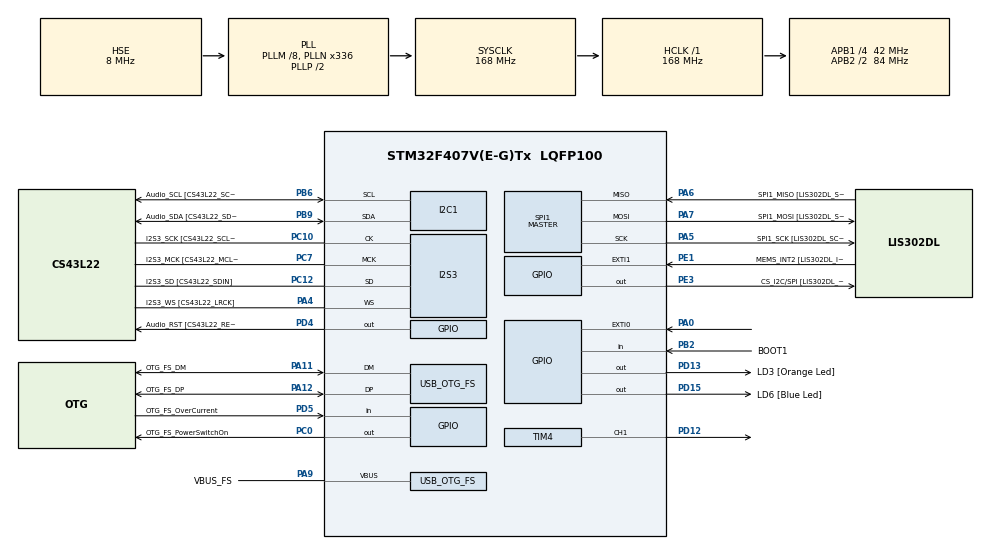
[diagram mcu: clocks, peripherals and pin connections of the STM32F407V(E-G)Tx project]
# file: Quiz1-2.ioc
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I2S3.AudioFreq-Half_Duplex_Master=I2S_AUDIOFREQ_96K
I2S3.ErrorAudioFreq=-2.34 %
I2S3.ErrorAudioFreq-Half_Duplex_Master=0.8 %
I2S3.FullDuplexMode=I2S_FULLDUPLEXMODE_DISABLE
I2S3.Instance=SPI$Index
I2S3.RealAudioFreq=93.75 KHz
I2S3.RealAudioFreq-Half_Duplex_Master=96.774 KHz
I2S3.VirtualMode=I2S_MODE_MASTER
Mcu.Family=STM32F4
Mcu.Name=STM32F407V(E-G)Tx
Mcu.Package=LQFP100
NVIC.EXTI0_IRQn=true\:7\:0\:true\:false\:true\:true\:true
NVIC.OTG_FS_IRQn=true\:0\:0\:false\:false\:true\:true\:true
NVIC.PriorityGroup=NVIC_PRIORITYGROUP_3
PA0-WKUP.Signal=GPXTI0
PA10.GPIO_Label=OTG_FS_ID
PA10.GPIO_Mode=GPIO_MODE_AF_PP
PA10.GPIO_PuPd=GPIO_NOPULL
PA10.GPIO_Speed=GPIO_SPEED_FREQ_LOW
PA10.Signal=USB_OTG_FS_ID
PA11.GPIO_Label=OTG_FS_DM
PA11.GPIO_Mode=GPIO_MODE_AF_PP
PA11.GPIO_PuPd=GPIO_NOPULL
PA11.GPIO_Speed=GPIO_SPEED_FREQ_LOW
PA11.Mode=Host_Only
PA11.Signal=USB_OTG_FS_DM
PA12.GPIO_Label=OTG_FS_DP
PA12.GPIO_Mode=GPIO_MODE_AF_PP
PA12.GPIO_PuPd=GPIO_NOPULL
PA12.GPIO_Speed=GPIO_SPEED_FREQ_LOW
PA12.Mode=Host_Only
PA12.Signal=USB_OTG_FS_DP
PA13.GPIO_Label=SWDIO
PA13.Mode=Serial_Wire
PA13.Signal=SYS_JTMS-SWDIO
PA14.GPIO_Label=SWCLK
PA14.Mode=Serial_Wire
PA14.Signal=SYS_JTCK-SWCLK
PA4.GPIO_Label=I2S3_WS [CS43L22_LRCK]
PA4.GPIO_Mode=GPIO_MODE_AF_PP
PA4.GPIO_PuPd=GPIO_NOPULL
PA4.GPIO_Speed=GPIO_SPEED_FREQ_LOW
PA4.Mode=Half_Duplex_Master
PA4.Signal=I2S3_WS
PA5.GPIO_Label=SPI1_SCK [LIS302DL_SCL/SPC]
PA5.GPIO_Mode=GPIO_MODE_AF_PP
PA5.GPIO_PuPd=GPIO_NOPULL
PA5.GPIO_Speed=GPIO_SPEED_FREQ_LOW
PA5.Mode=Full_Duplex_Master
PA5.Signal=SPI1_SCK
PA6.GPIO_Label=SPI1_MISO [LIS302DL_SDO]
PA6.GPIO_Mode=GPIO_MODE_AF_PP
PA6.GPIO_PuPd=GPIO_NOPULL
PA6.GPIO_Speed=GPIO_SPEED_FREQ_LOW
PA6.Mode=Full_Duplex_Master
PA6.Signal=SPI1_MISO
PA7.GPIO_Label=SPI1_MOSI [LIS302DL_SDA/SDI/SDO]
PA7.GPIO_Mode=GPIO_MODE_AF_PP
PA7.GPIO_PuPd=GPIO_NOPULL
PA7.GPIO_Speed=GPIO_SPEED_FREQ_LOW
PA7.Mode=Full_Duplex_Master
PA7.Signal=SPI1_MOSI
PA9.GPIO_Label=VBUS_FS
PA9.GPIO_Mode=GPIO_MODE_INPUT
PA9.GPIO_PuPd=GPIO_NOPULL
PA9.Mode=Activate_VBUS
PA9.Signal=USB_OTG_FS_VBUS
PB10.GPIO_Label=CLK_IN [MP45DT02_CLK]
PB10.GPIO_Mode=GPIO_MODE_AF_PP
PB10.GPIO_PuPd=GPIO_NOPULL
PB10.GPIO_Speed=GPIO_SPEED_FREQ_LOW
PB10.Signal=I2S2_CK
PB2.GPIO_Label=BOOT1
PB2.GPIO_Mode=GPIO_MODE_INPUT
PB2.GPIO_PuPd=GPIO_NOPULL
PB2.Signal=GPIO_Input
PB3.GPIO_Label=SWO
PB3.Signal=SYS_JTDO-SWO
PB6.GPIO_Label=Audio_SCL [CS43L22_SCL]
PB6.GPIO_Mode=GPIO_MODE_AF_OD
PB6.GPIO_PuPd=GPIO_NOPULL
PB6.GPIO_Speed=GPIO_SPEED_FREQ_LOW
PB6.Mode=I2C
PB6.Signal=I2C1_SCL
PB9.GPIO_Label=Audio_SDA [CS43L22_SDA]
PB9.GPIO_Mode=GPIO_MODE_AF_OD
PB9.GPIO_PuPd=GPIO_NOPULL
PB9.GPIO_Speed=GPIO_SPEED_FREQ_LOW
PB9.Mode=I2C
PB9.Signal=I2C1_SDA
PC0.GPIO_Label=OTG_FS_PowerSwitchOn
PC0.GPIO_PuPd=GPIO_NOPULL
PC0.GPIO_Speed=GPIO_SPEED_FREQ_LOW
PC0.PinState=GPIO_PIN_SET
PC0.Signal=GPIO_Output
PC10.GPIO_Label=I2S3_SCK [CS43L22_SCLK]
PC10.GPIO_Mode=GPIO_MODE_AF_PP
PC10.GPIO_PuPd=GPIO_NOPULL
PC10.GPIO_Speed=GPIO_SPEED_FREQ_LOW
PC10.Mode=Half_Duplex_Master
PC10.Signal=I2S3_CK
PC12.GPIO_Label=I2S3_SD [CS43L22_SDIN]
PC12.GPIO_Mode=GPIO_MODE_AF_PP
PC12.GPIO_PuPd=GPIO_NOPULL
PC12.GPIO_Speed=GPIO_SPEED_FREQ_LOW
PC12.Mode=Half_Duplex_Master
PC12.Signal=I2S3_SD
PC14-OSC32_IN.GPIO_Label=PC14-OSC32_IN
PC14-OSC32_IN.Mode=LSE-External-Oscillator
PC14-OSC32_IN.Signal=RCC_OSC32_IN
PC15-OSC32_OUT.GPIO_Label=PC15-OSC32_OUT
PC15-OSC32_OUT.Mode=LSE-External-Oscillator
PC15-OSC32_OUT.Signal=RCC_OSC32_OUT
PC3.GPIO_Label=PDM_OUT [MP45DT02_DOUT]
PC3.GPIO_Mode=GPIO_MODE_AF_PP
PC3.GPIO_PuPd=GPIO_NOPULL
PC3.GPIO_Speed=GPIO_SPEED_FREQ_LOW
PC3.Signal=I2S2_SD
PC7.GPIO_Label=I2S3_MCK [CS43L22_MCLK]
PC7.GPIO_Mode=GPIO_MODE_AF_PP
PC7.GPIO_PuPd=GPIO_NOPULL
PC7.GPIO_Speed=GPIO_SPEED_FREQ_LOW
PC7.Mode=Master_Clock_Activated
PC7.Signal=I2S3_MCK
PD12.Signal=S_TIM4_CH1
PD13.GPIO_Label=LD3 [Orange Led]
PD13.GPIO_PuPd=GPIO_NOPULL
PD13.GPIO_Speed=GPIO_SPEED_FREQ_LOW
PD13.Signal=GPIO_Output
PD14.Signal=S_TIM4_CH3
PD15.GPIO_Label=LD6 [Blue Led]
PD15.GPIO_PuPd=GPIO_NOPULL
PD15.GPIO_Speed=GPIO_SPEED_FREQ_LOW
PD15.Signal=GPIO_Output
PD4.GPIO_Label=Audio_RST [CS43L22_RESET]
PD4.GPIO_PuPd=GPIO_NOPULL
PD4.GPIO_Speed=GPIO_SPEED_FREQ_LOW
PD4.Signal=GPIO_Output
PD5.GPIO_Label=OTG_FS_OverCurrent
PD5.GPIO_Mode=GPIO_MODE_INPUT
PD5.GPIO_PuPd=GPIO_NOPULL
PD5.Signal=GPIO_Input
PE1.GPIO_Label=MEMS_INT2 [LIS302DL_INT2]
PE1.GPIO_ModeDefaultEXTI=GPIO_MODE_EVT_RISING
PE1.GPIO_PuPd=GPIO_NOPULL
PE1.Signal=GPXTI1
PE3.GPIO_Label=CS_I2C/SPI [LIS302DL_CS_I2C/SPI]
PE3.GPIO_PuPd=GPIO_NOPULL
PE3.GPIO_Speed=GPIO_SPEED_FREQ_LOW
PE3.Signal=GPIO_Output
PH0-OSC_IN.GPIO_Label=PH0-OSC_IN
PH0-OSC_IN.Mode=HSE-External-Oscillator
PH0-OSC_IN.Signal=RCC_OSC_IN
PH1-OSC_OUT.GPIO_Label=PH1-OSC_OUT
PH1-OSC_OUT.Mode=HSE-External-Oscillator
PH1-OSC_OUT.Signal=RCC_OSC_OUT
ProjectManager.HeapSize=0x200
ProjectManager.StackSize=0x400
ProjectManager.TargetToolchain=STM32CubeIDE
RCC.48MHZClocksFreq_Value=48000000
RCC.AHBFreq_Value=168000000
RCC.APB1CLKDivider=RCC_HCLK_DIV4
RCC.APB1Freq_Value=42000000
RCC.APB1TimFreq_Value=84000000
RCC.APB2CLKDivider=RCC_HCLK_DIV2
RCC.APB2Freq_Value=84000000
RCC.APB2TimFreq_Value=168000000
RCC.CortexFreq_Value=168000000
RCC.HCLKFreq_Value=168000000
RCC.HSE_VALUE=8000000
RCC.HSI_VALUE=16000000
RCC.PLLM=8
RCC.PLLN=336
RCC.PLLQ=7
RCC.SYSCLKFreq_VALUE=168000000
RCC.SYSCLKSource=RCC_SYSCLKSOURCE_PLLCLK
RCC.VCOOutputFreq_Value=336000000
SH.S_TIM4_CH1.0=TIM4_CH1,PWM Generation1 CH1
SH.S_TIM4_CH3.0=TIM4_CH3
SPI1.BaudRatePrescaler-Full_Duplex_Master=SPI_BAUDRATEPRESCALER_2
SPI1.CalculateBaudRate-Full_Duplex_Master=42.0 MBits/s
SPI1.Direction=SPI_DIRECTION_2LINES
SPI1.Mode=SPI_MODE_MASTER
SPI1.Mode-Full_Duplex_Master=SPI_MODE_MASTER
SPI1.VirtualType=VM_MASTER
TIM4.AutoReloadPreload=TIM_AUTORELOAD_PRELOAD_ENABLE
TIM4.Channel-PWM\ Generation1\ CH1=TIM_CHANNEL_1
TIM4.Channel-PWM\ Generation3\ No\ Output=TIM_CHANNEL_3
TIM4.Period=1499
TIM4.Prescaler=8399
TIM4.Pulse-PWM\ Generation1\ CH1=0
TIM4.Pulse-PWM\ Generation3\ No\ Output=0
USB_HOST.BSP.number=1
USB_HOST.USBH_HandleTypeDef-CDC_FS=hUsbHostFS
USB_HOST.VirtualModeFS=Cdc
USB_HOST0.BSP.STBoard=false
USB_HOST0.BSP.api=Unknown
USB_HOST0.BSP.i2caddr=0
USB_HOST0.BSP.i2creg=0
USB_HOST0.BSP.instance=PC0
USB_HOST0.BSP.ip=GPIO
USB_HOST0.BSP.mode=Output
USB_HOST0.BSP.name=Drive_VBUS_FS
USB_HOST0.BSP.solution=PC0
USB_OTG_FS.VirtualMode=Host_Only
USB_OTG_FS.phy_itface=HCD_PHY_EMBEDDED
VP_TIM4_VS_ClockSourceINT.Mode=Internal
VP_TIM4_VS_no_output3.Mode=PWM Generation3 No Output
VP_USB_HOST_VS_USB_HOST_CDC_FS.Mode=CDC_FS
board=STM32F4DISCOVERY

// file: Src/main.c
/* USER CODE BEGIN Header */
/**
  ******************************************************************************
  * @file           : main.c
  * @brief          : Main program body
  ******************************************************************************
  * @attention
  *
  * <h2><center>&copy; Copyright (c) 2019 STMicroelectronics.
  * All rights reserved.</center></h2>
  *
  * This software component is licensed by ST under Ultimate Liberty license
  * SLA0044, the "License"; You may not use this file except in compliance with
  * the License. You may obtain a copy of the License at:
  *                             www.st.com/SLA0044
  *
  ******************************************************************************
  */
/* USER CODE END Header */

#include "main.h"
#include "usb_host.h"

I2C_HandleTypeDef hi2c1;

I2S_HandleTypeDef hi2s3;

SPI_HandleTypeDef hspi1;

TIM_HandleTypeDef htim4;

void SystemClock_Config(void);
static void MX_GPIO_Init(void);
static void MX_I2C1_Init(void);
static void MX_I2S3_Init(void);
static void MX_SPI1_Init(void);
static void MX_TIM4_Init(void);
void MX_USB_HOST_Process(void);

/* USER CODE BEGIN 0 */
void HAL_GPIO_EXTI_Callback(uint16_t GPIO_Pin)
{
  /* Prevent unused argument(s) compilation warning */
  UNUSED(GPIO_Pin);
  /* NOTE: This function Should not be modified, when the callback is needed,
           the HAL_GPIO_EXTI_Callback could be implemented in the user file
   */
  if(isPress == 1) return;
  isPress = 1;
  HAL_GPIO_TogglePin(GPIOD, GPIO_PIN_13);

  switch(TIM4->ARR){
      	  case 1499:
      		  TIM4->ARR = 9999;
      		  break;
      	  default:
      		  TIM4->ARR = 1499;
      		  break;
      	  }

  TIM4->CNT = 0;
//  TIM4->
  HAL_Delay(500);
  isPress=0;
//  __HAL_GPIO_EXTI_CLEAR_IT(GPIO_Pin);

}
/* USER CODE END 0 */

int main(void)
{

  /* MCU Configuration--------------------------------------------------------*/

  /* Reset of all peripherals, Initializes the Flash interface and the Systick. */
  HAL_Init();

  /* Configure the system clock */
  SystemClock_Config();

  /* Initialize all configured peripherals */
  MX_GPIO_Init();
  MX_I2C1_Init();
  MX_I2S3_Init();
  MX_SPI1_Init();
  MX_USB_HOST_Init();
  MX_TIM4_Init();
  /* USER CODE BEGIN 2 */
  HAL_TIM_PWM_Start(&htim4, TIM_CHANNEL_1);
    HAL_TIM_PWM_Start(&htim4, TIM_CHANNEL_3);
  /* USER CODE END 2 */

  /* Infinite loop */
  while (1)
  {
    MX_USB_HOST_Process();

  }
}

void SystemClock_Config(void)
{
  RCC_OscInitTypeDef RCC_OscInitStruct = {0};
  RCC_ClkInitTypeDef RCC_ClkInitStruct = {0};
  RCC_PeriphCLKInitTypeDef PeriphClkInitStruct = {0};

  /** Configure the main internal regulator output voltage
  */
  __HAL_RCC_PWR_CLK_ENABLE();
  __HAL_PWR_VOLTAGESCALING_CONFIG(PWR_REGULATOR_VOLTAGE_SCALE1);
  /** Initializes the CPU, AHB and APB busses clocks
  */
  RCC_OscInitStruct.OscillatorType = RCC_OSCILLATORTYPE_HSE;
  RCC_OscInitStruct.HSEState = RCC_HSE_ON;
  RCC_OscInitStruct.PLL.PLLState = RCC_PLL_ON;
  RCC_OscInitStruct.PLL.PLLSource = RCC_PLLSOURCE_HSE;
  RCC_OscInitStruct.PLL.PLLM = 8;
  RCC_OscInitStruct.PLL.PLLN = 336;
  RCC_OscInitStruct.PLL.PLLP = RCC_PLLP_DIV2;
  RCC_OscInitStruct.PLL.PLLQ = 7;
  if (HAL_RCC_OscConfig(&RCC_OscInitStruct) != HAL_OK)
  {
    Error_Handler();
  }
  /** Initializes the CPU, AHB and APB busses clocks
  */
  RCC_ClkInitStruct.ClockType = RCC_CLOCKTYPE_HCLK|RCC_CLOCKTYPE_SYSCLK
                              |RCC_CLOCKTYPE_PCLK1|RCC_CLOCKTYPE_PCLK2;
  RCC_ClkInitStruct.SYSCLKSource = RCC_SYSCLKSOURCE_PLLCLK;
  RCC_ClkInitStruct.AHBCLKDivider = RCC_SYSCLK_DIV1;
  RCC_ClkInitStruct.APB1CLKDivider = RCC_HCLK_DIV4;
  RCC_ClkInitStruct.APB2CLKDivider = RCC_HCLK_DIV2;

  if (HAL_RCC_ClockConfig(&RCC_ClkInitStruct, FLASH_LATENCY_5) != HAL_OK)
  {
    Error_Handler();
  }
  PeriphClkInitStruct.PeriphClockSelection = RCC_PERIPHCLK_I2S;
  PeriphClkInitStruct.PLLI2S.PLLI2SN = 192;
  PeriphClkInitStruct.PLLI2S.PLLI2SR = 2;
  if (HAL_RCCEx_PeriphCLKConfig(&PeriphClkInitStruct) != HAL_OK)
  {
    Error_Handler();
  }
}

static void MX_I2C1_Init(void)
{

  hi2c1.Instance = I2C1;
  hi2c1.Init.ClockSpeed = 100000;
  hi2c1.Init.DutyCycle = I2C_DUTYCYCLE_2;
  hi2c1.Init.OwnAddress1 = 0;
  hi2c1.Init.AddressingMode = I2C_ADDRESSINGMODE_7BIT;
  hi2c1.Init.DualAddressMode = I2C_DUALADDRESS_DISABLE;
  hi2c1.Init.OwnAddress2 = 0;
  hi2c1.Init.GeneralCallMode = I2C_GENERALCALL_DISABLE;
  hi2c1.Init.NoStretchMode = I2C_NOSTRETCH_DISABLE;
  if (HAL_I2C_Init(&hi2c1) != HAL_OK)
  {
    Error_Handler();
  }

}

static void MX_I2S3_Init(void)
{

  hi2s3.Instance = SPI3;
  hi2s3.Init.Mode = I2S_MODE_MASTER_TX;
  hi2s3.Init.Standard = I2S_STANDARD_PHILIPS;
  hi2s3.Init.DataFormat = I2S_DATAFORMAT_16B;
  hi2s3.Init.MCLKOutput = I2S_MCLKOUTPUT_ENABLE;
  hi2s3.Init.AudioFreq = I2S_AUDIOFREQ_96K;
  hi2s3.Init.CPOL = I2S_CPOL_LOW;
  hi2s3.Init.ClockSource = I2S_CLOCK_PLL;
  hi2s3.Init.FullDuplexMode = I2S_FULLDUPLEXMODE_DISABLE;
  if (HAL_I2S_Init(&hi2s3) != HAL_OK)
  {
    Error_Handler();
  }

}

static void MX_SPI1_Init(void)
{

  /* SPI1 parameter configuration*/
  hspi1.Instance = SPI1;
  hspi1.Init.Mode = SPI_MODE_MASTER;
  hspi1.Init.Direction = SPI_DIRECTION_2LINES;
  hspi1.Init.DataSize = SPI_DATASIZE_8BIT;
  hspi1.Init.CLKPolarity = SPI_POLARITY_LOW;
  hspi1.Init.CLKPhase = SPI_PHASE_1EDGE;
  hspi1.Init.NSS = SPI_NSS_SOFT;
  hspi1.Init.BaudRatePrescaler = SPI_BAUDRATEPRESCALER_2;
  hspi1.Init.FirstBit = SPI_FIRSTBIT_MSB;
  hspi1.Init.TIMode = SPI_TIMODE_DISABLE;
  hspi1.Init.CRCCalculation = SPI_CRCCALCULATION_DISABLE;
  hspi1.Init.CRCPolynomial = 10;
  if (HAL_SPI_Init(&hspi1) != HAL_OK)
  {
    Error_Handler();
  }

}

static void MX_TIM4_Init(void)
{

  TIM_ClockConfigTypeDef sClockSourceConfig = {0};
  TIM_MasterConfigTypeDef sMasterConfig = {0};
  TIM_OC_InitTypeDef sConfigOC = {0};

  htim4.Instance = TIM4;
  htim4.Init.Prescaler = 8399;
  htim4.Init.CounterMode = TIM_COUNTERMODE_UP;
  htim4.Init.Period = 1499;
  htim4.Init.ClockDivision = TIM_CLOCKDIVISION_DIV1;
  htim4.Init.AutoReloadPreload = TIM_AUTORELOAD_PRELOAD_ENABLE;
  if (HAL_TIM_Base_Init(&htim4) != HAL_OK)
  {
    Error_Handler();
  }
  sClockSourceConfig.ClockSource = TIM_CLOCKSOURCE_INTERNAL;
  if (HAL_TIM_ConfigClockSource(&htim4, &sClockSourceConfig) != HAL_OK)
  {
    Error_Handler();
  }
  if (HAL_TIM_PWM_Init(&htim4) != HAL_OK)
  {
    Error_Handler();
  }
  sMasterConfig.MasterOutputTrigger = TIM_TRGO_RESET;
  sMasterConfig.MasterSlaveMode = TIM_MASTERSLAVEMODE_DISABLE;
  if (HAL_TIMEx_MasterConfigSynchronization(&htim4, &sMasterConfig) != HAL_OK)
  {
    Error_Handler();
  }
  sConfigOC.OCMode = TIM_OCMODE_PWM1;
  sConfigOC.Pulse = 0;
  sConfigOC.OCPolarity = TIM_OCPOLARITY_HIGH;
  sConfigOC.OCFastMode = TIM_OCFAST_DISABLE;
  if (HAL_TIM_PWM_ConfigChannel(&htim4, &sConfigOC, TIM_CHANNEL_1) != HAL_OK)
  {
    Error_Handler();
  }
  if (HAL_TIM_PWM_ConfigChannel(&htim4, &sConfigOC, TIM_CHANNEL_3) != HAL_OK)
  {
    Error_Handler();
  }
  HAL_TIM_MspPostInit(&htim4);

}

static void MX_GPIO_Init(void)
{
  GPIO_InitTypeDef GPIO_InitStruct = {0};

  /* GPIO Ports Clock Enable */
  __HAL_RCC_GPIOE_CLK_ENABLE();
  __HAL_RCC_GPIOC_CLK_ENABLE();
  __HAL_RCC_GPIOH_CLK_ENABLE();
  __HAL_RCC_GPIOA_CLK_ENABLE();
  __HAL_RCC_GPIOB_CLK_ENABLE();
  __HAL_RCC_GPIOD_CLK_ENABLE();

  /*Configure GPIO pin Output Level */
  HAL_GPIO_WritePin(CS_I2C_SPI_GPIO_Port, CS_I2C_SPI_Pin, GPIO_PIN_RESET);

  /*Configure GPIO pin Output Level */
  HAL_GPIO_WritePin(OTG_FS_PowerSwitchOn_GPIO_Port, OTG_FS_PowerSwitchOn_Pin, GPIO_PIN_SET);

  /*Configure GPIO pin Output Level */
  HAL_GPIO_WritePin(GPIOD, LD3_Pin|LD6_Pin|Audio_RST_Pin, GPIO_PIN_RESET);

  /*Configure GPIO pin : CS_I2C_SPI_Pin */
  GPIO_InitStruct.Pin = CS_I2C_SPI_Pin;
  GPIO_InitStruct.Mode = GPIO_MODE_OUTPUT_PP;
  GPIO_InitStruct.Pull = GPIO_NOPULL;
  GPIO_InitStruct.Speed = GPIO_SPEED_FREQ_LOW;
  HAL_GPIO_Init(CS_I2C_SPI_GPIO_Port, &GPIO_InitStruct);

  /*Configure GPIO pin : OTG_FS_PowerSwitchOn_Pin */
  GPIO_InitStruct.Pin = OTG_FS_PowerSwitchOn_Pin;
  GPIO_InitStruct.Mode = GPIO_MODE_OUTPUT_PP;
  GPIO_InitStruct.Pull = GPIO_NOPULL;
  GPIO_InitStruct.Speed = GPIO_SPEED_FREQ_LOW;
  HAL_GPIO_Init(OTG_FS_PowerSwitchOn_GPIO_Port, &GPIO_InitStruct);

  /*Configure GPIO pin : PDM_OUT_Pin */
  GPIO_InitStruct.Pin = PDM_OUT_Pin;
  GPIO_InitStruct.Mode = GPIO_MODE_AF_PP;
  GPIO_InitStruct.Pull = GPIO_NOPULL;
  GPIO_InitStruct.Speed = GPIO_SPEED_FREQ_LOW;
  GPIO_InitStruct.Alternate = GPIO_AF5_SPI2;
  HAL_GPIO_Init(PDM_OUT_GPIO_Port, &GPIO_InitStruct);

  /*Configure GPIO pin : PA0 */
  GPIO_InitStruct.Pin = GPIO_PIN_0;
  GPIO_InitStruct.Mode = GPIO_MODE_IT_RISING;
  GPIO_InitStruct.Pull = GPIO_NOPULL;
  HAL_GPIO_Init(GPIOA, &GPIO_InitStruct);

  /*Configure GPIO pin : BOOT1_Pin */
  GPIO_InitStruct.Pin = BOOT1_Pin;
  GPIO_InitStruct.Mode = GPIO_MODE_INPUT;
  GPIO_InitStruct.Pull = GPIO_NOPULL;
  HAL_GPIO_Init(BOOT1_GPIO_Port, &GPIO_InitStruct);

  /*Configure GPIO pin : CLK_IN_Pin */
  GPIO_InitStruct.Pin = CLK_IN_Pin;
  GPIO_InitStruct.Mode = GPIO_MODE_AF_PP;
  GPIO_InitStruct.Pull = GPIO_NOPULL;
  GPIO_InitStruct.Speed = GPIO_SPEED_FREQ_LOW;
  GPIO_InitStruct.Alternate = GPIO_AF5_SPI2;
  HAL_GPIO_Init(CLK_IN_GPIO_Port, &GPIO_InitStruct);

  /*Configure GPIO pins : LD3_Pin LD6_Pin Audio_RST_Pin */
  GPIO_InitStruct.Pin = LD3_Pin|LD6_Pin|Audio_RST_Pin;
  GPIO_InitStruct.Mode = GPIO_MODE_OUTPUT_PP;
  GPIO_InitStruct.Pull = GPIO_NOPULL;
  GPIO_InitStruct.Speed = GPIO_SPEED_FREQ_LOW;
  HAL_GPIO_Init(GPIOD, &GPIO_InitStruct);

  /*Configure GPIO pin : OTG_FS_OverCurrent_Pin */
  GPIO_InitStruct.Pin = OTG_FS_OverCurrent_Pin;
  GPIO_InitStruct.Mode = GPIO_MODE_INPUT;
  GPIO_InitStruct.Pull = GPIO_NOPULL;
  HAL_GPIO_Init(OTG_FS_OverCurrent_GPIO_Port, &GPIO_InitStruct);

  /*Configure GPIO pin : MEMS_INT2_Pin */
  GPIO_InitStruct.Pin = MEMS_INT2_Pin;
  GPIO_InitStruct.Mode = GPIO_MODE_EVT_RISING;
  GPIO_InitStruct.Pull = GPIO_NOPULL;
  HAL_GPIO_Init(MEMS_INT2_GPIO_Port, &GPIO_InitStruct);

  /* EXTI interrupt init*/
  HAL_NVIC_SetPriority(EXTI0_IRQn, 7, 0);
  HAL_NVIC_EnableIRQ(EXTI0_IRQn);

}

void Error_Handler(void)
{
}

/************************ (C) COPYRIGHT STMicroelectronics *****END OF FILE****/
